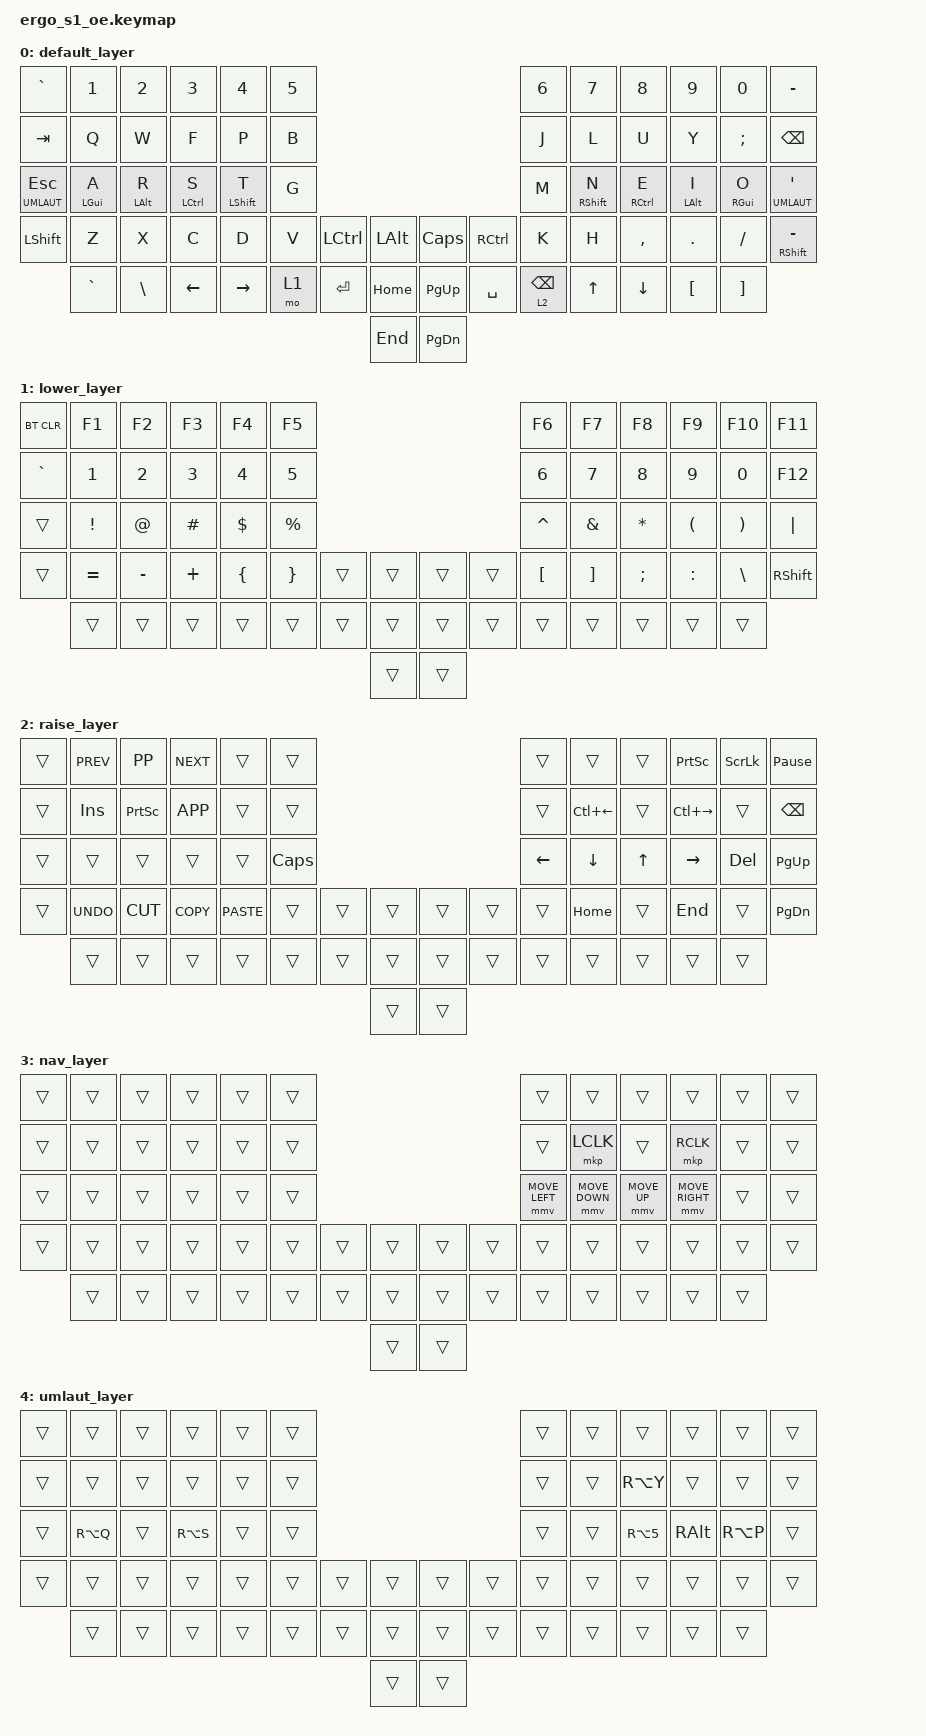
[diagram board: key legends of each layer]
/*
 * Copyright (c) 2021 The ZMK Contributors
 *
 * SPDX-License-Identifier: MIT
 */

#include <behaviors.dtsi>
#include <dt-bindings/zmk/mouse.h>
#include <dt-bindings/zmk/bt.h>
#include <dt-bindings/zmk/keys.h>

// Global settings

#define TAPPING_TERM   175
#define QUICK_TAP_TERM 50

// Layout enums

#define DEFAULT 0
#define LOWER   1
#define RAISE   2
#define NAV     3
#define UMLAUT  4

// Layer Tap 
// The "layer-tap" behavior enables a layer when a key is held, and outputs a keypress when the key
// is only tapped for a short time.

&lt {
    tapping-term-ms = <TAPPING_TERM>;
    flavor = "tap-preferred";
    quick-tap-ms = <QUICK_TAP_TERM>;
};

/ {
    behaviors {
        // homerow mods (gqt: global-quick-tap)

        hm: global-quick-tap {
            compatible = "zmk,behavior-hold-tap";
            label = "home-row-mods";
            #binding-cells = <2>;
            tapping-term-ms = <TAPPING_TERM>;
            quick-tap-ms = <QUICK_TAP_TERM>;
            flavor = "tap-preferred";
            global-quick-tap;
            bindings = <&kp>, <&kp>;
        };
        lst: lst {
            compatible = "zmk,behavior-hold-tap";
            label = "left-shift-tap";
            bindings = <&kp>, <&kp>;

            #binding-cells = <2>;
            flavor = "balanced";
            tapping-term-ms = <280>;
            quick-tap-ms = <175>;
            require-prior-idle-ms = <125>;
            hold-trigger-key-positions = <18 46 7 6 8 9 10 11 23 35 51 22 34 50 65 64 63 62 47 48 49 33 32 31 30 19 20 21 67 59 44 45 60 60 61 66 58 43 42 57 56>;
        };
        rst: rst {
            compatible = "zmk,behavior-hold-tap";
            label = "right-shift-tap";
            bindings = <&kp>, <&kp>;

            #binding-cells = <2>;
            flavor = "balanced";
            tapping-term-ms = <280>;
            quick-tap-ms = <175>;
            hold-trigger-key-positions = <56 57 43 42 58 66 44 59 67 60 61 45 0 24 12 36 1 13 25 37 52 38 26 14 2 3 15 27 39 54 53 55 40 28 16 4 5 17 29 41>;
        };
    };

    /* activate NAV layer when and only when LOWER + RAISE are pressed */

    conditional_layers {
        compatible = "zmk,conditional-layers";

        tri_layer {
            if-layers = <LOWER RAISE>;
            then-layer = <NAV>;
        };
    };

    keymap {
        compatible = "zmk,keymap";

        // PBU Notes: map right ALT to LALT on default layer to not use it as ALTGR

        default_layer {
            bindings = <
&kp GRAVE       &kp N1      &kp N2      &kp N3       &kp N4        &kp N5                                             &kp N6      &kp N7        &kp N8       &kp N9      &kp N0      &kp MINUS
&kp TAB         &kp Q       &kp W       &kp F        &kp P         &kp B                                              &kp J       &kp L         &kp U        &kp Y       &kp SEMI    &kp BSPC
&lt UMLAUT ESC  &hm LGUI A  &hm LALT R  &hm LCTRL S  &lst LSHFT T  &kp G                                              &kp M       &rst RSHFT N  &hm RCTRL E  &hm LALT I  &hm RGUI O  &lt UMLAUT SQT
&kp LSHIFT      &kp Z       &kp X       &kp C        &kp D         &kp V   &kp LCTRL  &kp LALT  &kp CAPS   &kp RCTRL  &kp K       &kp H         &kp COMMA    &kp PERIOD  &kp SLASH   &hm RSHFT MINUS
                &kp GRAVE   &kp BSLH    &kp LEFT     &kp RIGHT     &mo 1   &kp ENTER  &kp HOME  &kp PG_UP  &kp SPACE  &lt 2 BSPC  &kp UP        &kp DOWN     &kp LBKT    &kp RBKT
                                                                                      &kp END   &kp PG_DN
            >;
        };

        lower_layer {
            bindings = <
&bt BT_CLR  &kp F1     &kp F2     &kp F3    &kp F4    &kp F5                                     &kp F6     &kp F7    &kp F8    &kp F9     &kp F10   &kp F11
&kp GRAVE   &kp N1     &kp N2     &kp N3    &kp N4    &kp N5                                     &kp N6     &kp N7    &kp N8    &kp N9     &kp N0    &kp F12
&trans      &kp EXCL   &kp AT     &kp HASH  &kp DLLR  &kp PRCNT                                  &kp CARET  &kp AMPS  &kp STAR  &kp LPAR   &kp RPAR  &kp PIPE
&trans      &kp EQUAL  &kp MINUS  &kp PLUS  &kp LBRC  &kp RBRC   &trans  &trans  &trans  &trans  &kp LBKT   &kp RBKT  &kp SEMI  &kp COLON  &kp BSLH  &kp RSHFT
            &trans     &trans     &trans    &trans    &trans     &trans  &trans  &trans  &trans  &trans     &trans    &trans    &trans     &trans
                                                                         &trans  &trans
            >;
        };

        raise_layer {
            bindings = <
&trans  &kp C_PREV  &kp K_PP   &kp C_NEXT  &trans       &trans                                    &trans    &trans        &trans  &kp PSCRN      &kp SLCK  &kp PAUSE_BREAK
&trans  &kp INS     &kp PSCRN  &kp K_APP   &trans       &trans                                    &trans    &kp LC(LEFT)  &trans  &kp LC(RIGHT)  &trans    &kp BSPC
&trans  &trans      &trans     &trans      &trans       &kp CAPS                                  &kp LEFT  &kp DOWN      &kp UP  &kp RIGHT      &kp DEL   &kp PG_UP
&trans  &kp K_UNDO  &kp K_CUT  &kp K_COPY  &kp K_PASTE  &trans    &trans  &trans  &trans  &trans  &trans    &kp HOME      &trans  &kp END        &trans    &kp PG_DN
        &trans      &trans     &trans      &trans       &trans    &trans  &trans  &trans  &trans  &trans    &trans        &trans  &trans         &trans
                                                                          &trans  &trans
            >;
        };

        nav_layer {
            bindings = <
&trans  &trans  &trans  &trans  &trans  &trans                                  &trans          &trans          &trans        &trans           &trans  &trans
&trans  &trans  &trans  &trans  &trans  &trans                                  &trans          &mkp LCLK       &trans        &mkp RCLK        &trans  &trans
&trans  &trans  &trans  &trans  &trans  &trans                                  &mmv MOVE_LEFT  &mmv MOVE_DOWN  &mmv MOVE_UP  &mmv MOVE_RIGHT  &trans  &trans
&trans  &trans  &trans  &trans  &trans  &trans  &trans  &trans  &trans  &trans  &trans          &trans          &trans        &trans           &trans  &trans
        &trans  &trans  &trans  &trans  &trans  &trans  &trans  &trans  &trans  &trans          &trans          &trans        &trans           &trans
                                                        &trans  &trans
            >;
        };

        umlaut_layer {
            bindings = <
&trans  &trans     &trans  &trans     &trans  &trans                                  &trans  &trans  &trans      &trans    &trans     &trans
&trans  &trans     &trans  &trans     &trans  &trans                                  &trans  &trans  &kp RA(Y)   &trans    &trans     &trans
&trans  &kp RA(Q)  &trans  &kp RA(S)  &trans  &trans                                  &trans  &trans  &kp RA(N5)  &kp RALT  &kp RA(P)  &trans
&trans  &trans     &trans  &trans     &trans  &trans  &trans  &trans  &trans  &trans  &trans  &trans  &trans      &trans    &trans     &trans
        &trans     &trans  &trans     &trans  &trans  &trans  &trans  &trans  &trans  &trans  &trans  &trans      &trans    &trans
                                                              &trans  &trans
            >;
        };

        /*
    TEMPLATE {
      bindings = <
//╭──────────────┬──────────┬──────────┬──────────┬─────────┬─────────╮                                                               ╭─────────┬──────────┬──────────┬──────────┬─────────┬──────────╮
//│              │          │          │          │         │         │                                                               │         │          │          │          │         │          │
    &trans        &trans    &trans    &trans    &trans   &trans                                                                   &trans   &trans    &trans    &trans    &trans   &trans 
//├──────────────┬──────────┼──────────┼──────────┼─────────┼─────────┤                                                               ├─────────┼──────────┼──────────┼──────────┼─────────┼──────────┤
//│              │          │          │          │         │         │                                                               │         │          │          │          │         │          │
    &trans        &trans    &trans    &trans    &trans   &trans                                                                   &trans   &trans    &trans    &trans    &trans   &trans 
//├──────────────┬──────────┼──────────┼──────────┼─────────┼─────────┤                                                               ├─────────┼──────────┼──────────┼──────────┼─────────┼──────────┤
//│              │          │          │          │         │         │                                                               │         │          │          │          │         │          │
    &trans        &trans    &trans    &trans    &trans   &trans                                                                   &trans   &trans    &trans    &trans    &trans   &trans 
//├──────────────┬──────────┼──────────┼──────────┼─────────┼─────────┤          ╭─────────┬────────╮  ╭─────────┬─────────╮          ├─────────┼──────────┼──────────┼──────────┼─────────┼──────────┤
//│              │          │          │          │         │         │                                                               │         │          │          │          │         │          │
    &trans        &trans    &trans    &trans    &trans   &trans              &trans  &trans      &trans   &trans              &trans   &trans    &trans    &trans    &trans   &trans 
//╰──────────────┬──────────┼──────────┼──────────┼─────────┼─────────╯╭─────────┼─────────┼────────┤  ├─────────┼─────────┼─────────╮╰─────────┼──────────┼──────────┼──────────┼─────────┼──────────╯
                   &trans    &trans    &trans    &trans              &trans   &trans  &trans      &trans   &trans   &trans              &trans    &trans    &trans    &trans
//               ╰──────────┴──────────┴──────────┴─────────╯          |         |         ├────────┤  ├─────────┤         |         |          ╰──────────┴──────────┴──────────┴─────────╯
                                                                                            &trans      &trans 
//                                                                     ╰─────────┴─────────┴────────╯  ╰─────────┴─────────┴─────────╯
      >;
    };
*/
    };
};

